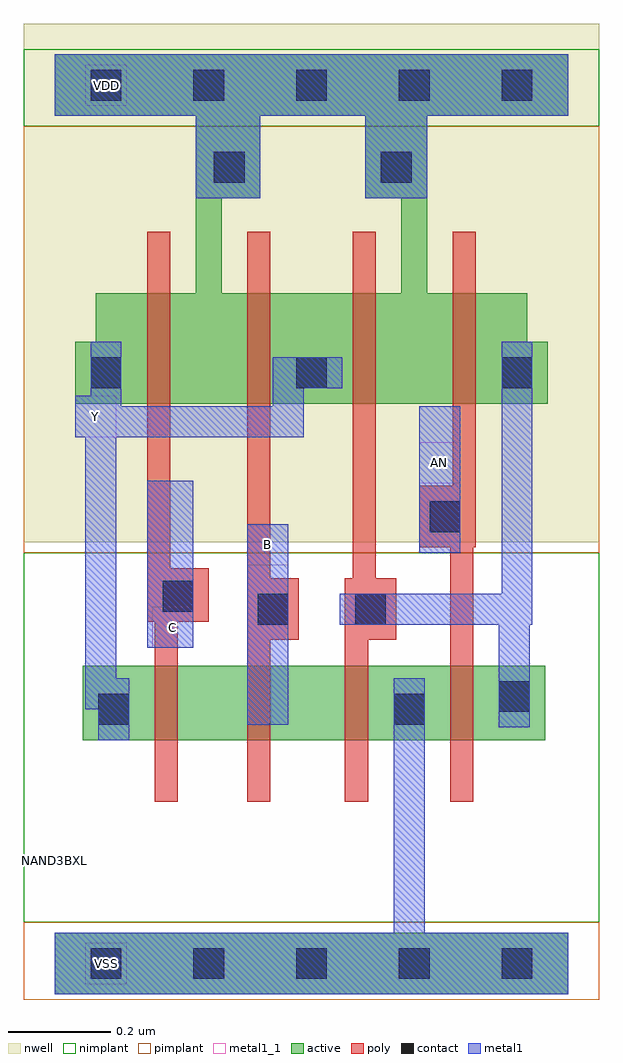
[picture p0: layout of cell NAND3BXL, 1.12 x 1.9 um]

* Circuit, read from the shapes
.subckt NAND3BXL AN B C VDD VSS Y
M1 n1 C Y VSS nfet w=0.145u l=0.045u
M2 n2 B n1 VSS nfet w=0.145u l=0.045u
M3 VSS n3 n2 VSS nfet w=0.145u l=0.045u
M4 n3 AN VSS VSS nfet w=0.145u l=0.045u
M5 VDD C Y VDD pfet w=0.215u l=0.045u
M6 Y B VDD VDD pfet w=0.215u l=0.045u
M7 VDD n3 Y VDD pfet w=0.215u l=0.045u
M8 n3 AN VDD VDD pfet w=0.215u l=0.045u
.ends

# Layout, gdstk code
import gdstk
lib = gdstk.Library(unit=1e-6, precision=5e-10)
def R(c, l, rs):  # rectangles x0, y0, x1, y1
    for r in rs: c.add(gdstk.rectangle(r[:2], r[2:], *l))
def A(c, l, x, y, w, h, nx, ny, dx, dy):  # array of equal rectangles
    R(c, l, [(x+i*dx, y+j*dy, x+i*dx+w, y+j*dy+h) for i in range(nx) for j in range(ny)])
def P(c, l, *ps):  # polygons
    for p in ps: c.add(gdstk.Polygon(p, *l))
active = (1, 0)
nwell = (2, 0)
poly = (3, 0)
nimplant = (4, 0)
pimplant = (5, 0)
contact = (6, 0)
metal1 = (7, 0)
metal1_1 = (7, 1)

nand3bxl = lib.new_cell('NAND3BXL')
R(nand3bxl, active, [(0,-0.06,1,0.06), (0.055,0.435,0.955,0.58)])
P(nand3bxl, active, [(1,1.77),(0.675,1.77),(0.675,1.305),(0.325,1.305),(0.325,1.49),(0.4,1.49),(0.4,1.65),(0.605,1.65),(0.605,1.49),(0.675,1.49),(0.675,1.77),(0,1.77),(0,1.65),(0.275,1.65),(0.275,1.305),(0.08,1.305),(0.08,1.21),(0.04,1.21),(0.04,1.09),(0.96,1.09),(0.96,1.21),(0.92,1.21),(0.92,1.305),(0.725,1.305),(0.725,1.65),(1,1.65)])
R(nand3bxl, nwell, [(-0.06,0.82,1.06,1.83)])
P(nand3bxl, poly, [(0.82,1.425),(0.775,1.425),(0.775,0.93),(0.71,0.93),(0.71,0.81),(0.77,0.81),(0.77,0.315),(0.815,0.315),(0.815,0.81),(0.82,0.81)],
  [(0.665,0.75),(0.625,0.75),(0.625,1.425),(0.58,1.425),(0.58,0.75),(0.565,0.75),(0.565,0.315),(0.61,0.315),(0.61,0.63),(0.665,0.63)],
  [(0.475,0.75),(0.42,0.75),(0.42,1.425),(0.375,1.425),(0.375,0.315),(0.42,0.315),(0.42,0.63),(0.475,0.63)],
  [(0.3,0.77),(0.225,0.77),(0.225,1.425),(0.18,1.425),(0.18,0.665),(0.195,0.665),(0.195,0.315),(0.24,0.315),(0.24,0.665),(0.3,0.665)])
R(nand3bxl, nimplant, [(-0.06,0.08,1.06,0.8), (-0.06,1.63,1.06,1.78)])
R(nand3bxl, pimplant, [(-0.06,-0.07,1.06,0.08), (-0.06,0.8,1.06,1.63)])
A(nand3bxl, contact, 0.07, -0.03, 0.06, 0.06, 5, 2, 0.2, 1.71)
A(nand3bxl, contact, 0.07, 1.12, 0.06, 0.06, 3, 1, 0.4, 0)
R(nand3bxl, contact, [(0.085,0.465,0.145,0.525), (0.66,0.465,0.72,0.525), (0.865,0.49,0.925,0.55), (0.395,0.66,0.455,0.72), (0.585,0.66,0.645,0.72), (0.21,0.685,0.27,0.745), (0.73,0.84,0.79,0.9), (0.31,1.52,0.37,1.58), (0.635,1.52,0.695,1.58)])
R(nand3bxl, metal1, [(0.375,0.465,0.455,0.855), (0.18,0.615,0.27,0.94), (0.71,0.8,0.79,1.085)])
P(nand3bxl, metal1, [(1,0.06),(0.72,0.06),(0.72,0.555),(0.66,0.555),(0.66,0.06),(0,0.06),(0,-0.06),(1,-0.06)],
  [(1,1.77),(0,1.77),(0,1.65),(0.275,1.65),(0.275,1.49),(0.4,1.49),(0.4,1.65),(0.605,1.65),(0.605,1.49),(0.725,1.49),(0.725,1.65),(1,1.65)],
  [(0.93,1.21),(0.87,1.21),(0.87,0.72),(0.555,0.72),(0.555,0.66),(0.865,0.66),(0.865,0.46),(0.925,0.46),(0.925,0.66),(0.93,0.66)],
  [(0.56,1.18),(0.425,1.18),(0.425,1.085),(0.13,1.085),(0.13,1.21),(0.07,1.21),(0.07,1.105),(0.04,1.105),(0.04,1.025),(0.06,1.025),(0.06,0.495),(0.085,0.495),(0.085,0.435),(0.145,0.435),(0.145,0.555),(0.12,0.555),(0.12,1.025),(0.485,1.025),(0.485,1.12),(0.56,1.12)])
R(nand3bxl, metal1_1, [(0.06,-0.04,0.14,0.04), (0.19,0.615,0.27,0.695), (0.375,0.775,0.455,0.855), (0.71,0.935,0.79,1.015), (0.04,1.025,0.12,1.105), (0.06,1.67,0.14,1.75)])
nand3bxl.add(gdstk.Label('C', (0.23,0.655), layer=7, texttype=1))
nand3bxl.add(gdstk.Label('Y', (0.08,1.065), layer=7, texttype=1))
nand3bxl.add(gdstk.Label('AN', (0.75,0.975), layer=7, texttype=1))
nand3bxl.add(gdstk.Label('B', (0.415,0.815), layer=7, texttype=1))
nand3bxl.add(gdstk.Label('VDD', (0.1,1.71), layer=7, texttype=1))
nand3bxl.add(gdstk.Label('VSS', (0.1,0), layer=7, texttype=1))
nand3bxl.add(gdstk.Label('NAND3BXL', (0,0.2), layer=63, texttype=0))

lib.write_gds('NAND3BXL.gds')
